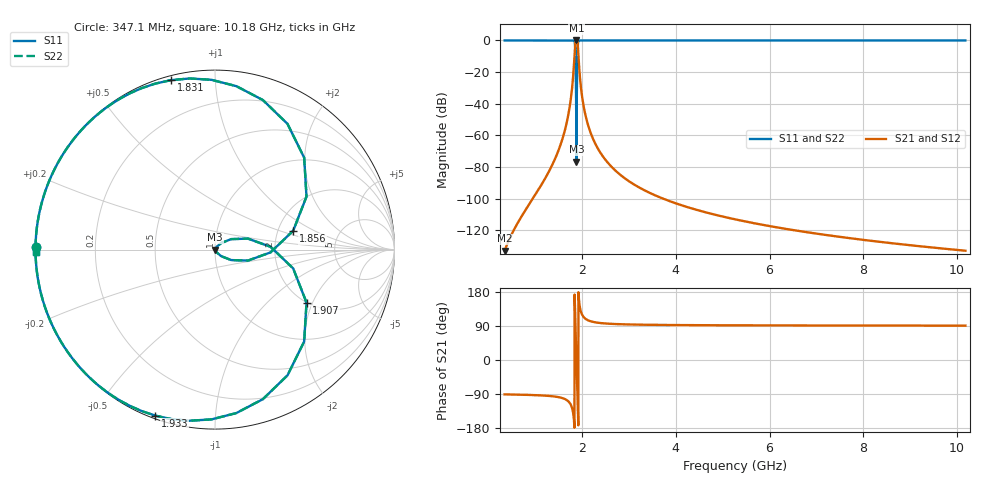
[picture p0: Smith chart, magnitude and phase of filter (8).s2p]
! rf-tools.com
! Date: Thu Jan 30 2020 11:11:20 GMT+0000 (格林尼治标准时间)
# Hz S DB R 50.00
!Frequency  S11 dB  S11 Deg  S21 dB  S21 Deg  S12 dB  S12 Deg  S22 dB  S22 Deg
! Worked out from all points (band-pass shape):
!   2000 points, 347.1 MHz to 10.18 GHz, reference 50 ohm
!   highest |S21| = 0.00 dB at 1.878 GHz (marker M1); lowest = -132.9 dB at 347.1 MHz (marker M2)
!   |S21| within 3 dB of the highest: 1.85 GHz to 1.91 GHz (59.9 MHz wide, 3.19 % of centre)
!   lowest |S11| = -76.6 dB at 1.878 GHz (marker M3), VSWR 1.00, Z = 50 - j0.0148 ohm
!   |S11| at or under -10 dB: 1.859 GHz to 1.901 GHz (41.64 MHz wide, 2.22 % of centre)
!   |S22| runs from -76.6 to 0.0 dB; largest |S21 - S12| = 0
!   S11 on the Smith chart (normalised r, x): 347.1 MHz: -0.00, +0.01; 1.831 GHz: 0.02, +0.77; 1.856 GHz: 2.43, +0.64; 1.907 GHz: 1.99, -1.80; 1.933 GHz: 0.01, -0.70; 10.18 GHz: -0.00, -0.01
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3.47119e8  -0.00 179.3  -132.87 -90.7  -132.87 -90.7  -0.00 179.3
1.353135e9  -0.00 174.5  -79.30 -95.5  -79.30 -95.5  -0.00 174.5
1.543806e9  -0.00 170.8  -65.64 -99.2  -65.64 -99.2  -0.00 170.8
1.679934e9  -0.00 163.7  -50.92 -106.3  -50.92 -106.3  -0.00 163.7
1.785319e9  -0.00 143.9  -30.57 -126.1  -30.57 -126.1  -0.00 143.9
1.815749e9  -0.04 125.0  -20.24 -145.0  -20.24 -145.0  -0.04 125.0
1.831157e9  -0.22 104.6  -13.13 -165.4  -13.13 -165.4  -0.22 104.6
1.840465e9  -0.74 82.5  -8.05 172.5  -8.05 172.5  -0.74 82.5
1.856084e9  -6.98 13.5  -0.97 103.5  -0.97 103.5  -6.98 13.5
1.878173e9  -76.57 -83.9  -0.00 6.1  -0.00 6.1  -76.57 -83.9
1.90696e9  -4.59 -30.1  -1.85 -120.1  -1.85 -120.1  -4.59 -30.1
1.919895e9  -0.74 -82.5  -8.05 -172.5  -8.05 -172.5  -0.74 -82.5
1.932918e9  -0.15 -109.8  -14.70 160.2  -14.70 160.2  -0.15 -109.8
1.985899e9  -0.00 -146.2  -32.22 123.8  -32.22 123.8  -0.00 -146.2
2.071605e9  -0.00 -161.1  -47.11 108.9  -47.11 108.9  -0.00 -161.1
2.197843e9  -0.00 -168.3  -59.57 101.7  -59.57 101.7  -0.00 -168.3
2.598136e9  -0.00 -174.4  -78.88 95.6  -78.88 95.6  -0.00 -174.4
3.624583e9  -0.00 -177.4  -98.70 92.6  -98.70 92.6  -0.00 -177.4
5.26587e9  -0.00 -178.5  -113.05 91.5  -113.05 91.5  -0.00 -178.5
6.91262e9  -0.00 -178.9  -121.69 91.1  -121.69 91.1  -0.00 -178.9
8.55314e9  -0.00 -179.2  -127.95 90.8  -127.95 90.8  -0.00 -179.2
1.01795e10  -0.00 -179.3  -132.87 90.7  -132.87 90.7  -0.00 -179.3
